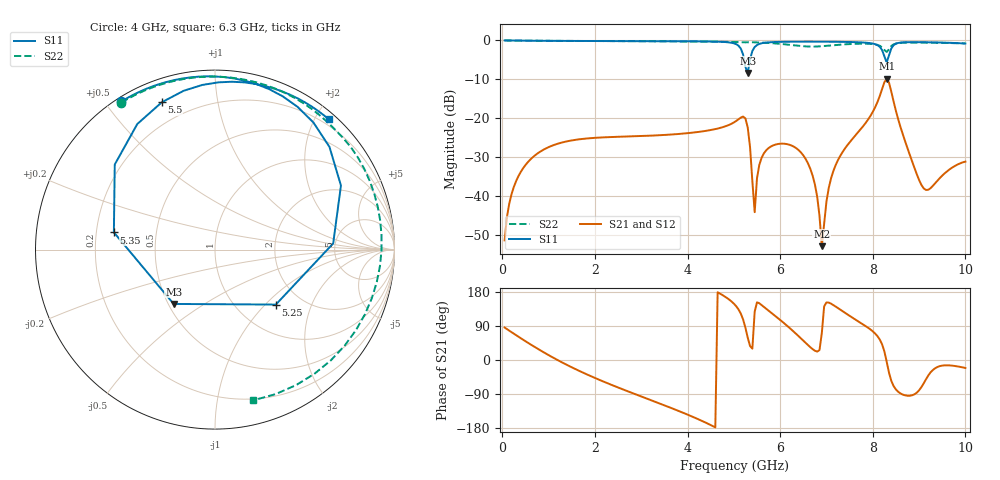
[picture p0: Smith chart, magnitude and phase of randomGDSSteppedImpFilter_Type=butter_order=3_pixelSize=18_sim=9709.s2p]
! freq	dB(S11)	phase(S11)	dB(S12)	phase(S12)
!  dB(S21)	phase(S21)	dB(S22)	phase(S22)
!S-par simulation data
#  GHz  S  DB  R 50
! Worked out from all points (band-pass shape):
!   200 points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, 50 MHz to 10 GHz, reference 50 ohm
!   highest |S21| = -9.85 dB at 8.3 GHz (marker M1); lowest = -52.9 dB at 6.9 GHz (marker M2)
!   |S21| within 3 dB of the highest: 8.191 GHz to 8.393 GHz (201.7 MHz wide, 2.43 % of centre)
!   lowest |S11| = -8.4 dB at 5.3 GHz (marker M3), VSWR 2.23, Z = 26.6 - j18.9 ohm
!   |S11| at or under -10 dB: nowhere
!   |S22| runs from -3.0 to 0.0 dB; largest |S21 - S12| = 0
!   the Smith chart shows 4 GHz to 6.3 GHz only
!   S11 on the Smith chart (normalised r, x): 4 GHz: 0.02, +0.55; 5.25 GHz: 1.49, -1.15; 5.35 GHz: 0.27, +0.08; 5.5 GHz: 0.10, +0.70; 6.3 GHz: 0.11, +2.20
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0.05  -0.00 -4.5  -51.44 85.7  -51.44 85.7  -0.00 -3.7
0.5  -0.06 -43.9  -32.06 49.5  -32.06 49.5  -0.05 -36.6
1.75  -0.14 -131.8  -25.31 -33.8  -25.31 -33.8  -0.14 -117.9
3.4  -0.18 148.6  -24.38 -114.9  -24.38 -114.9  -0.22 154.1
4  -0.21 122.3  -23.86 -144.1  -23.86 -144.1  -0.26 122.5
5.05  -0.96 52.2  -20.72 142.0  -20.72 142.0  -0.42 59.0
5.25  -6.80 -42.1  -20.07 85.1  -20.07 85.1  -0.48 44.7
5.3  -8.40 -127.2  -22.41 58.9  -22.41 58.9  -0.48 40.9
5.35  -4.86 170.4  -27.43 36.8  -27.43 36.8  -0.47 36.9
5.45  -1.69 121.7  -44.18 127.7  -44.18 127.7  -0.49 28.4
5.5  -1.18 109.8  -35.44 152.2  -35.44 152.2  -0.51 24.0
5.95  -0.38 66.8  -26.65 110.7  -26.65 110.7  -0.82 -23.3
6.3  -0.32 48.9  -27.36 74.1  -27.36 74.1  -1.25 -75.9
6.7  -0.31 31.1  -34.74 28.7  -34.74 28.7  -1.59 -155.7
6.9  -0.31 22.7  -52.93 71.5  -52.93 71.5  -1.48 164.2
7.05  -0.33 16.5  -37.91 151.5  -37.91 151.5  -1.33 137.6
7.4  -0.38 2.2  -27.79 124.5  -27.79 124.5  -0.99 89.0
7.95  -0.70 -22.0  -19.41 80.5  -19.41 80.5  -0.88 37.2
8.3  -5.67 -25.5  -9.85 -4.2  -9.85 -4.2  -2.96 19.5
8.35  -3.91 -10.7  -10.84 -33.3  -10.84 -33.3  -2.29 23.4
9.1  -0.45 -52.4  -38.06 -61.5  -38.06 -61.5  -0.56 -20.9
10  -0.80 -90.1  -31.18 -21.2  -31.18 -21.2  -0.77 -57.4
